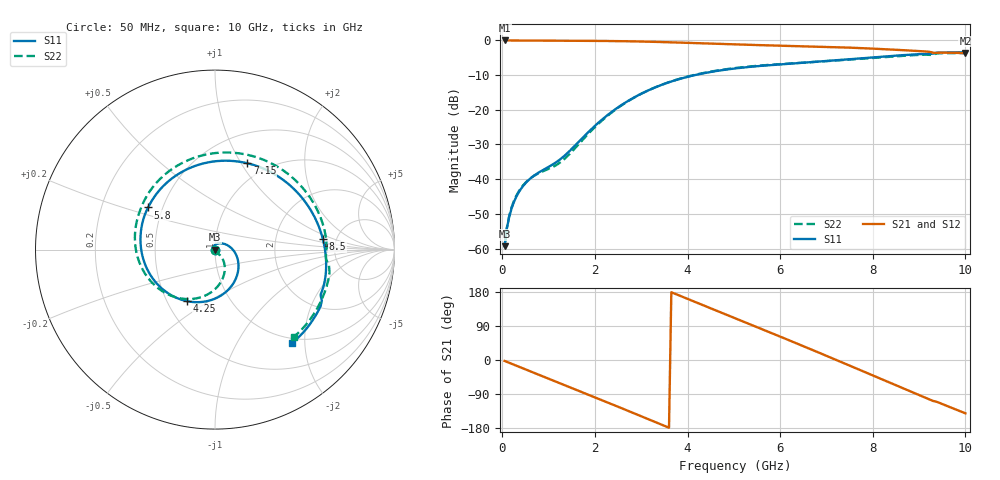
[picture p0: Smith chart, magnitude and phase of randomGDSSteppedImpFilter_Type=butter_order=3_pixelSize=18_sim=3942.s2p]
! freq	dB(S11)	phase(S11)	dB(S12)	phase(S12)
!  dB(S21)	phase(S21)	dB(S22)	phase(S22)
!S-par simulation data
#  GHz  S  DB  R 50
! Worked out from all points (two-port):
!   200 points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, 50 MHz to 10 GHz, reference 50 ohm
!   highest |S21| = 0.00 dB at 50 MHz (marker M1); lowest = -3.6 dB at 10 GHz (marker M2)
!   |S21| within 3 dB of the highest: start of sweep to 8.924 GHz
!   lowest |S11| = -59.3 dB at 50 MHz (marker M3), VSWR 1.00, Z = 50 - j0.102 ohm
!   |S11| at or under -10 dB: start of sweep to 4.155 GHz
!   |S22| runs from -59.2 to -3.6 dB; largest |S21 - S12| = 0
!   S11 on the Smith chart (normalised r, x): 50 MHz: 1.00, -0.00; 4.25 GHz: 0.63, -0.41; 5.8 GHz: 0.42, +0.24; 7.15 GHz: 0.81, +1.06; 8.5 GHz: 3.90, +0.74; 10 GHz: 0.91, -1.74
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0.05  -59.32 -70.6  -0.00 -2.5  -0.00 -2.5  -59.24 -66.4
0.1  -54.15 -86.2  -0.01 -5.0  -0.01 -5.0  -53.88 -78.6
0.2  -48.46 -102.0  -0.02 -9.9  -0.02 -9.9  -48.15 -86.2
0.4  -42.85 -124.7  -0.03 -19.6  -0.03 -19.6  -42.62 -91.4
0.65  -39.33 -152.7  -0.04 -31.9  -0.04 -31.9  -39.34 -92.9
1.1  -35.67 147.3  -0.06 -53.9  -0.06 -53.9  -36.42 -79.1
1.75  -27.87 58.6  -0.10 -85.9  -0.10 -85.9  -28.43 -49.2
2.5  -19.29 -6.2  -0.20 -123.3  -0.20 -123.3  -19.41 -59.7
2.95  -15.70 -37.1  -0.30 -146.0  -0.30 -146.0  -15.73 -74.4
3.4  -13.01 -66.0  -0.45 -168.6  -0.45 -168.6  -12.99 -91.0
3.8  -11.22 -90.8  -0.61 171.3  -0.61 171.3  -11.17 -106.4
4.25  -9.72 -118.2  -0.81 148.8  -0.81 148.8  -9.64 -124.0
5.05  -8.04 -166.5  -1.15 109.1  -1.15 109.1  -7.92 -155.2
5.8  -7.12 147.8  -1.43 71.8  -1.43 71.8  -7.00 175.3
6.7  -6.24 94.5  -1.73 26.4  -1.73 26.4  -6.22 137.4
7.15  -5.79 69.5  -1.91 3.3  -1.91 3.3  -5.84 115.9
7.7  -5.21 41.4  -2.19 -25.1  -2.19 -25.1  -5.34 87.2
8.35  -4.53 12.0  -2.59 -58.8  -2.59 -58.8  -4.71 49.9
8.5  -4.38 5.7  -2.69 -66.5  -2.69 -66.5  -4.56 40.9
8.95  -3.99 -12.2  -3.02 -89.6  -3.02 -89.6  -4.19 13.8
9.4  -3.52 -28.1  -3.55 -111.1  -3.55 -111.1  -3.73 -11.4
10  -3.43 -50.5  -3.64 -140.7  -3.64 -140.7  -3.67 -48.1
